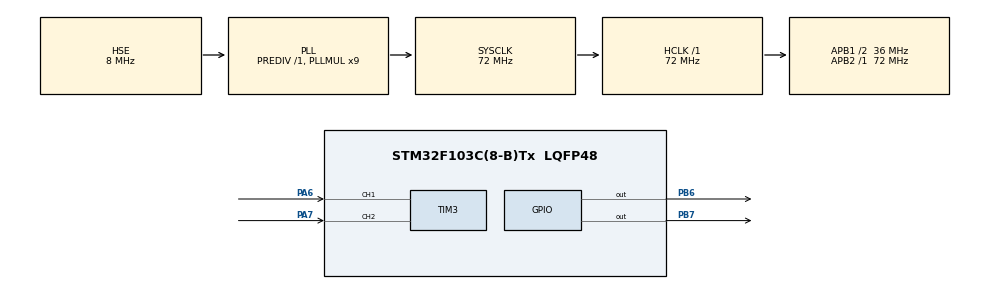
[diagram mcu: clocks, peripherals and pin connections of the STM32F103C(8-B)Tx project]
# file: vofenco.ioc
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Mcu.Family=STM32F1
Mcu.Name=STM32F103C(8-B)Tx
Mcu.Package=LQFP48
NVIC.PriorityGroup=NVIC_PRIORITYGROUP_4
PA13.Mode=Serial_Wire
PA13.Signal=SYS_JTMS-SWDIO
PA14.Mode=Serial_Wire
PA14.Signal=SYS_JTCK-SWCLK
PA6.GPIO_PuPd=GPIO_PULLUP
PA6.Signal=S_TIM3_CH1
PA7.GPIO_PuPd=GPIO_PULLUP
PA7.Signal=S_TIM3_CH2
PB6.GPIO_ModeDefaultOutputPP=GPIO_MODE_OUTPUT_OD
PB6.GPIO_PuPd=GPIO_PULLUP
PB6.GPIO_Speed=GPIO_SPEED_FREQ_HIGH
PB6.PinState=GPIO_PIN_SET
PB6.Signal=GPIO_Output
PB7.GPIO_ModeDefaultOutputPP=GPIO_MODE_OUTPUT_OD
PB7.GPIO_PuPd=GPIO_PULLUP
PB7.GPIO_Speed=GPIO_SPEED_FREQ_HIGH
PB7.PinState=GPIO_PIN_SET
PB7.Signal=GPIO_Output
PD0-OSC_IN.Mode=HSE-External-Oscillator
PD0-OSC_IN.Signal=RCC_OSC_IN
PD1-OSC_OUT.Mode=HSE-External-Oscillator
PD1-OSC_OUT.Signal=RCC_OSC_OUT
ProjectManager.HeapSize=0x200
ProjectManager.StackSize=0x400
ProjectManager.TargetToolchain=CMake
RCC.AHBFreq_Value=72000000
RCC.APB1CLKDivider=RCC_HCLK_DIV2
RCC.APB1Freq_Value=36000000
RCC.APB1TimFreq_Value=72000000
RCC.APB2Freq_Value=72000000
RCC.APB2TimFreq_Value=72000000
RCC.HCLKFreq_Value=72000000
RCC.PLLMUL=RCC_PLL_MUL9
RCC.PLLSourceVirtual=RCC_PLLSOURCE_HSE
RCC.SYSCLKFreq_VALUE=72000000
RCC.SYSCLKSource=RCC_SYSCLKSOURCE_PLLCLK
RCC.USBFreq_Value=72000000
SH.S_TIM3_CH1.0=TIM3_CH1,Encoder_Interface
SH.S_TIM3_CH2.0=TIM3_CH2,Encoder_Interface
TIM3.EncoderMode=TIM_ENCODERMODE_TI12
TIM3.IC1Filter=15
TIM3.IC2Filter=15
board=custom

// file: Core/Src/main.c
/* USER CODE BEGIN Header */
/**
  ******************************************************************************
  * @file           : main.c
  * @brief          : Main program body
  ******************************************************************************
  * @attention
  *
  * Copyright (c) 2026 STMicroelectronics.
  * All rights reserved.
  *
  * This software is licensed under terms that can be found in the LICENSE file
  * in the root directory of this software component.
  * If no LICENSE file comes with this software, it is provided AS-IS.
  *
  ******************************************************************************
  */
/* USER CODE END Header */
#include "main.h"

/* USER CODE BEGIN Includes */
#include "oled.h"
#include <stdio.h>
/* USER CODE END Includes */

/* USER CODE BEGIN PD */
#define ENCODER_CPR 80//一圈二十格，一格四个脉冲，80个脉冲一圈

/* USER CODE END PD */

/* USER CODE BEGIN PV */
TIM_HandleTypeDef htim3;
int16_t  last_count     = 0;
uint32_t last_tick      = 0;
int16_t encoder_count = 0;
int16_t shown = 0;
int32_t  counts_per_sec = 0;
int32_t  rpm_x10        = 0;//转速*10，避免浮点，更好显示
char  buf[24];
/* USER CODE END PV */

void SystemClock_Config(void);
static void MX_GPIO_Init(void);
static void MX_TIM3_Init(void);

int main(void)
{

  /* MCU Configuration--------------------------------------------------------*/

  /* Reset of all peripherals, Initializes the Flash interface and the Systick. */
  HAL_Init();

  /* Configure the system clock */
  SystemClock_Config();

  /* Initialize all configured peripherals */
  MX_GPIO_Init();
  MX_TIM3_Init();
  /* USER CODE BEGIN 2 */
  HAL_Delay(20);
  OLED_Init();
  HAL_TIM_Encoder_Start(&htim3, TIM_CHANNEL_ALL);
  /* USER CODE END 2 */

  /* Infinite loop */
  while (1)
  {

    /* USER CODE BEGIN 3 */
    uint32_t now = HAL_GetTick();

    if(now - last_tick >= 100)//100ms计算一次转速
    {
      int16_t dt = now - last_tick;
      last_tick = now;

      int16_t current_count = __HAL_TIM_GET_COUNTER(&htim3);
      int16_t delta_count = current_count - last_count;
      last_count = current_count;

      counts_per_sec = (int32_t)delta_count * 1000 / (int32_t)dt;//  换成"每秒计数"
      rpm_x10 = (int32_t)counts_per_sec * 60 * 10 / ENCODER_CPR; //  换算成转速*10
    }

    if (rpm_x10 != shown)
    {
      shown = rpm_x10;
      sprintf(buf, "RPM: %d",(rpm_x10 + 5) / 10); //四舍五入
      OLED_NewFrame();
      OLED_PrintString(0, 0, buf,&font16x16, OLED_COLOR_NORMAL);
      OLED_ShowFrame();
    }
  }
  /* USER CODE END 3 */
}

void SystemClock_Config(void)
{
  RCC_OscInitTypeDef RCC_OscInitStruct = {0};
  RCC_ClkInitTypeDef RCC_ClkInitStruct = {0};

  /** Initializes the RCC Oscillators according to the specified parameters
  * in the RCC_OscInitTypeDef structure.
  */
  RCC_OscInitStruct.OscillatorType = RCC_OSCILLATORTYPE_HSE;
  RCC_OscInitStruct.HSEState = RCC_HSE_ON;
  RCC_OscInitStruct.HSEPredivValue = RCC_HSE_PREDIV_DIV1;
  RCC_OscInitStruct.HSIState = RCC_HSI_ON;
  RCC_OscInitStruct.PLL.PLLState = RCC_PLL_ON;
  RCC_OscInitStruct.PLL.PLLSource = RCC_PLLSOURCE_HSE;
  RCC_OscInitStruct.PLL.PLLMUL = RCC_PLL_MUL9;
  if (HAL_RCC_OscConfig(&RCC_OscInitStruct) != HAL_OK)
  {
    Error_Handler();
  }

  /** Initializes the CPU, AHB and APB buses clocks
  */
  RCC_ClkInitStruct.ClockType = RCC_CLOCKTYPE_HCLK|RCC_CLOCKTYPE_SYSCLK
                              |RCC_CLOCKTYPE_PCLK1|RCC_CLOCKTYPE_PCLK2;
  RCC_ClkInitStruct.SYSCLKSource = RCC_SYSCLKSOURCE_PLLCLK;
  RCC_ClkInitStruct.AHBCLKDivider = RCC_SYSCLK_DIV1;
  RCC_ClkInitStruct.APB1CLKDivider = RCC_HCLK_DIV2;
  RCC_ClkInitStruct.APB2CLKDivider = RCC_HCLK_DIV1;

  if (HAL_RCC_ClockConfig(&RCC_ClkInitStruct, FLASH_LATENCY_2) != HAL_OK)
  {
    Error_Handler();
  }
}

static void MX_TIM3_Init(void)
{

  TIM_Encoder_InitTypeDef sConfig = {0};
  TIM_MasterConfigTypeDef sMasterConfig = {0};

  htim3.Instance = TIM3;
  htim3.Init.Prescaler = 0;
  htim3.Init.CounterMode = TIM_COUNTERMODE_UP;
  htim3.Init.Period = 65535;
  htim3.Init.ClockDivision = TIM_CLOCKDIVISION_DIV1;
  htim3.Init.AutoReloadPreload = TIM_AUTORELOAD_PRELOAD_DISABLE;
  sConfig.EncoderMode = TIM_ENCODERMODE_TI12;
  sConfig.IC1Polarity = TIM_ICPOLARITY_RISING;
  sConfig.IC1Selection = TIM_ICSELECTION_DIRECTTI;
  sConfig.IC1Prescaler = TIM_ICPSC_DIV1;
  sConfig.IC1Filter = 15;
  sConfig.IC2Polarity = TIM_ICPOLARITY_RISING;
  sConfig.IC2Selection = TIM_ICSELECTION_DIRECTTI;
  sConfig.IC2Prescaler = TIM_ICPSC_DIV1;
  sConfig.IC2Filter = 15;
  if (HAL_TIM_Encoder_Init(&htim3, &sConfig) != HAL_OK)
  {
    Error_Handler();
  }
  sMasterConfig.MasterOutputTrigger = TIM_TRGO_RESET;
  sMasterConfig.MasterSlaveMode = TIM_MASTERSLAVEMODE_DISABLE;
  if (HAL_TIMEx_MasterConfigSynchronization(&htim3, &sMasterConfig) != HAL_OK)
  {
    Error_Handler();
  }

}

static void MX_GPIO_Init(void)
{
  GPIO_InitTypeDef GPIO_InitStruct = {0};

  /* GPIO Ports Clock Enable */
  __HAL_RCC_GPIOD_CLK_ENABLE();
  __HAL_RCC_GPIOA_CLK_ENABLE();
  __HAL_RCC_GPIOB_CLK_ENABLE();

  /*Configure GPIO pin Output Level */
  HAL_GPIO_WritePin(GPIOB, GPIO_PIN_6|GPIO_PIN_7, GPIO_PIN_SET);

  /*Configure GPIO pins : PB6 PB7 */
  GPIO_InitStruct.Pin = GPIO_PIN_6|GPIO_PIN_7;
  GPIO_InitStruct.Mode = GPIO_MODE_OUTPUT_OD;
  GPIO_InitStruct.Pull = GPIO_PULLUP;
  GPIO_InitStruct.Speed = GPIO_SPEED_FREQ_HIGH;
  HAL_GPIO_Init(GPIOB, &GPIO_InitStruct);

}

void Error_Handler(void)
{
  __disable_irq();
  while (1)
  {
  }
}
